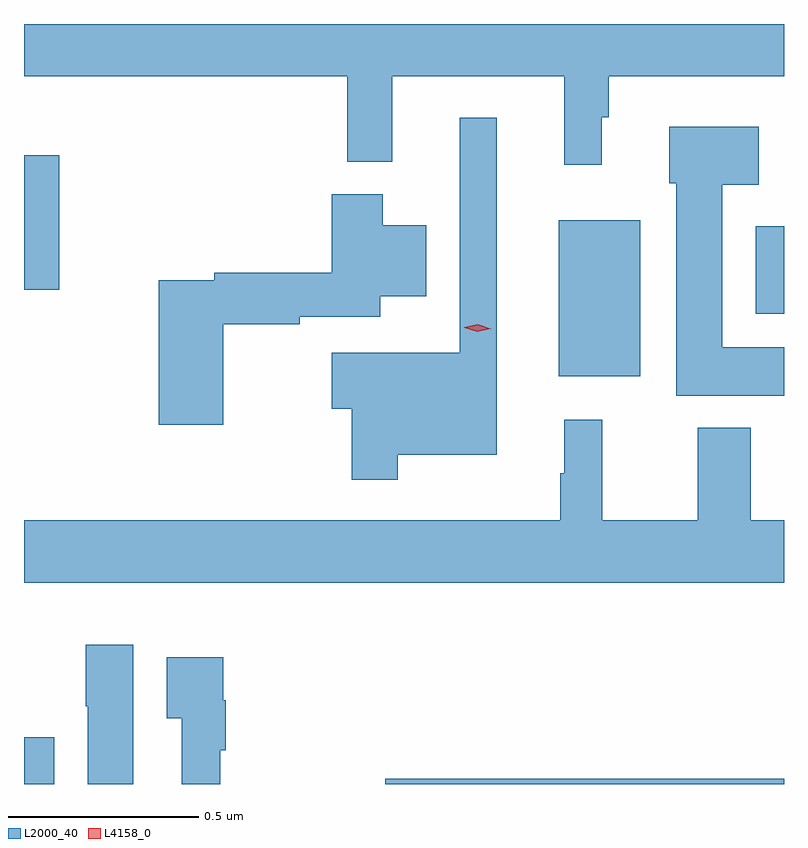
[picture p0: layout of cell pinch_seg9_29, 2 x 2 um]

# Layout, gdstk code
import gdstk
lib = gdstk.Library(unit=1e-6, precision=1e-09)
def R(c, l, rs):  # rectangles x0, y0, x1, y1
    for r in rs: c.add(gdstk.rectangle(r[:2], r[2:], *l))
def P(c, l, *ps):  # polygons
    for p in ps: c.add(gdstk.Polygon(p, *l))
L2000_40 = (2000, 40)
L4158_0 = (4158, 0)

pinch_seg9_29 = lib.new_cell('pinch_seg9_29')
R(pinch_seg9_29, L2000_40, [(929.324,1243.842,929.404,1243.965), (930.275,1243.842,931.324,1243.856), (930.731,1244.915,930.946,1245.325), (931.25,1245.08,931.324,1245.31), (929.324,1245.143,929.417,1245.496)])
P(pinch_seg9_29, L2000_40, [(930.844,1245.596),(930.863,1245.596),(930.863,1245.704),(931.324,1245.704),(931.324,1245.842),(929.324,1245.842),(929.324,1245.704),(930.175,1245.704),(930.175,1245.479),(930.293,1245.479),(930.293,1245.704),(930.746,1245.704),(930.746,1245.471),(930.844,1245.471)],
  [(930.307,1244.708),(930.568,1244.708),(930.568,1245.595),(930.471,1245.595),(930.471,1244.977),(930.134,1244.977),(930.134,1244.83),(930.186,1244.83),(930.186,1244.643),(930.307,1244.643)],
  [(931.324,1244.992),(931.162,1244.992),(931.162,1245.419),(931.258,1245.419),(931.258,1245.571),(931.022,1245.571),(931.022,1245.423),(931.04,1245.423),(931.04,1244.864),(931.324,1244.864)],
  [(929.848,1245.052),(930.05,1245.052),(930.05,1245.072),(930.262,1245.072),(930.262,1245.125),(930.382,1245.125),(930.382,1245.313),(930.268,1245.313),(930.268,1245.394),(930.134,1245.394),(930.134,1245.188),(929.824,1245.188),(929.824,1245.168),(929.678,1245.168),(929.678,1244.787),(929.848,1244.787)],
  [(931.324,1244.536),(931.237,1244.536),(931.237,1244.779),(931.097,1244.779),(931.097,1244.536),(930.846,1244.536),(930.846,1244.8),(930.746,1244.8),(930.746,1244.66),(930.735,1244.66),(930.735,1244.536),(929.324,1244.536),(929.324,1244.372),(931.324,1244.372)],
  [(929.611,1244.209),(929.486,1244.209),(929.486,1244.046),(929.492,1244.046),(929.492,1243.842),(929.611,1243.842)],
  [(929.84,1243.931),(929.855,1243.931),(929.855,1244.063),(929.848,1244.063),(929.848,1244.176),(929.699,1244.176),(929.699,1244.015),(929.739,1244.015),(929.739,1243.842),(929.84,1243.842)])
P(pinch_seg9_29, L4158_0, [(930.517,1245.032),(930.482,1245.043),(930.482,1245.043),(930.482,1245.044),(930.518,1245.052),(930.552,1245.04),(930.553,1245.04),(930.552,1245.04)])

lib.write_gds('pinch_seg9_29.gds')
